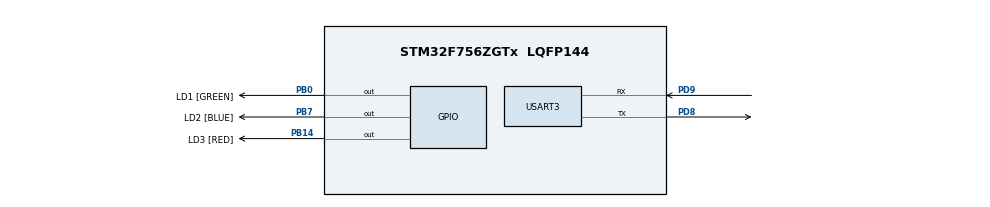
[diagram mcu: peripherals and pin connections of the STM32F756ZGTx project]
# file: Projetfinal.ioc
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CORTEX_M7.default_mode_Activation=1
Mcu.Family=STM32F7
Mcu.Name=STM32F756ZGTx
Mcu.Package=LQFP144
NVIC.PriorityGroup=NVIC_PRIORITYGROUP_4
NVIC.TIM2_IRQn=true\:0\:0\:false\:false\:true\:true\:true\:true
NVIC.TIM3_IRQn=true\:0\:0\:false\:false\:true\:true\:true\:true
NVIC.TIM4_IRQn=true\:0\:0\:false\:false\:true\:true\:true\:true
NVIC.USART3_IRQn=true\:0\:0\:false\:false\:true\:true\:true\:true
PB0.GPIO_Label=LD1 [GREEN]
PB0.Signal=GPIO_Output
PB14.GPIO_Label=LD3 [RED]
PB14.Signal=GPIO_Output
PB7.GPIO_Label=LD2 [BLUE]
PB7.Signal=GPIO_Output
PD8.Mode=Asynchronous
PD8.Signal=USART3_TX
PD9.Mode=Asynchronous
PD9.Signal=USART3_RX
ProjectManager.HeapSize=0x200
ProjectManager.StackSize=0x400
ProjectManager.TargetToolchain=STM32CubeIDE
RCC.HSE_VALUE=25000000
RCC.HSI_VALUE=16000000
RCC.LSE_VALUE=32768
RCC.USBFreq_Value=96000000
RCC.VCOOutputFreq_Value=192000000
TIM2.Period=62499
TIM2.Prescaler=127
TIM3.Period=62499
TIM3.Prescaler=255
TIM4.Period=65216
TIM4.Prescaler=735
USART3.VirtualMode-Asynchronous=VM_ASYNC
VP_TIM2_VS_ClockSourceINT.Mode=Internal
VP_TIM3_VS_ClockSourceINT.Mode=Internal
VP_TIM4_VS_ClockSourceINT.Mode=Internal
board=custom

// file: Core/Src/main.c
/* USER CODE BEGIN Header */
/**
******************************************************************************
* @file           : main.c
* @brief          : Main program body
******************************************************************************
* @attention
*
* Copyright (c) 2025 STMicroelectronics.
* All rights reserved.
*
* This software is licensed under terms that can be found in the LICENSE file
* in the root directory of this software component.
* If no LICENSE file comes with this software, it is provided AS-IS.
*
******************************************************************************
*/
/* USER CODE END Header */
#include "main.h"
#include "tim.h"
#include "usart.h"
#include "gpio.h"

/* USER CODE BEGIN Includes */
#include "string.h"
#include "stdio.h"
/* USER CODE END Includes */

/* USER CODE BEGIN PTD */
#define RX_BUFFER_SIZE 64
/* USER CODE END PTD */

/* USER CODE BEGIN PV */
uint8_t rx_buffer[RX_BUFFER_SIZE];
uint8_t rx_data;
uint8_t rx_index = 0;
uint8_t chenillard_active = 0;
uint8_t etat = 1;
TIM_HandleTypeDef *current_timer = &htim2;
/* USER CODE END PV */

void SystemClock_Config(void);
static void MPU_Config(void);
/* USER CODE BEGIN PFP */
void ProcessCommand(uint8_t *command);
void SendResponse(char *response);
void chenillard1(void);
void change_timer(uint8_t timer);
/* USER CODE END PFP */

/* USER CODE BEGIN 0 */
void chenillard1(void) {
  static uint8_t step = 0;
  // Éteint toutes les LEDs
  HAL_GPIO_WritePin(GPIOB, GPIO_PIN_0 | GPIO_PIN_7 | GPIO_PIN_14, GPIO_PIN_RESET);
  // Allume la LED correspondante
  switch(step) {
      case 0: HAL_GPIO_WritePin(GPIOB, GPIO_PIN_0, GPIO_PIN_SET); break;
      case 1: HAL_GPIO_WritePin(GPIOB, GPIO_PIN_7, GPIO_PIN_SET); break;
      case 2: HAL_GPIO_WritePin(GPIOB, GPIO_PIN_14, GPIO_PIN_SET); break;
      case 3: HAL_GPIO_WritePin(GPIOB, GPIO_PIN_7, GPIO_PIN_SET); break;
  }
  step = (step + 1) % 4;
}
void chenillard2(void) {
  static uint8_t step = 0;
  HAL_GPIO_WritePin(GPIOB, GPIO_PIN_0 | GPIO_PIN_7 | GPIO_PIN_14, GPIO_PIN_RESET);
  if (step == 0) {
      HAL_GPIO_WritePin(GPIOB, GPIO_PIN_0 | GPIO_PIN_14, GPIO_PIN_SET);
  } else {
      HAL_GPIO_WritePin(GPIOB, GPIO_PIN_7, GPIO_PIN_SET);
  }
  step = (step + 1) % 2;
}
void chenillard3(void) {
  static uint8_t step = 0;
  if (step == 0) {
      HAL_GPIO_WritePin(GPIOB, GPIO_PIN_0 | GPIO_PIN_7 | GPIO_PIN_14, GPIO_PIN_SET);
  } else {
      HAL_GPIO_WritePin(GPIOB, GPIO_PIN_0 | GPIO_PIN_7 | GPIO_PIN_14, GPIO_PIN_RESET);
  }
  step = (step + 1) % 2;
}
/* USER CODE END 0 */

int main(void)
{

  /* MPU Configuration--------------------------------------------------------*/
  MPU_Config();

  /* MCU Configuration--------------------------------------------------------*/

  /* Reset of all peripherals, Initializes the Flash interface and the Systick. */
  HAL_Init();

  /* Configure the system clock */
  SystemClock_Config();

  /* Initialize all configured peripherals */
  MX_GPIO_Init();
  MX_USART3_UART_Init();
  MX_TIM2_Init();
  MX_TIM3_Init();
  MX_TIM4_Init();
  /* USER CODE BEGIN 2 */
HAL_UART_Receive_IT(&huart3, &rx_data, 1);
// Démarrer seulement le timer 2 initialement
HAL_TIM_Base_Start_IT(&htim2);
HAL_TIM_Base_Start_IT(&htim3);
HAL_TIM_Base_Start_IT(&htim4);
current_timer = &htim2;
  /* USER CODE END 2 */

  /* Infinite loop */
while (1)
{

}
}

void SystemClock_Config(void)
{
  RCC_OscInitTypeDef RCC_OscInitStruct = {0};
  RCC_ClkInitTypeDef RCC_ClkInitStruct = {0};

  /** Configure the main internal regulator output voltage
  */
  __HAL_RCC_PWR_CLK_ENABLE();
  __HAL_PWR_VOLTAGESCALING_CONFIG(PWR_REGULATOR_VOLTAGE_SCALE3);

  /** Initializes the RCC Oscillators according to the specified parameters
  * in the RCC_OscInitTypeDef structure.
  */
  RCC_OscInitStruct.OscillatorType = RCC_OSCILLATORTYPE_HSI;
  RCC_OscInitStruct.HSIState = RCC_HSI_ON;
  RCC_OscInitStruct.HSICalibrationValue = RCC_HSICALIBRATION_DEFAULT;
  RCC_OscInitStruct.PLL.PLLState = RCC_PLL_NONE;
  if (HAL_RCC_OscConfig(&RCC_OscInitStruct) != HAL_OK)
  {
    Error_Handler();
  }

  /** Initializes the CPU, AHB and APB buses clocks
  */
  RCC_ClkInitStruct.ClockType = RCC_CLOCKTYPE_HCLK|RCC_CLOCKTYPE_SYSCLK
                              |RCC_CLOCKTYPE_PCLK1|RCC_CLOCKTYPE_PCLK2;
  RCC_ClkInitStruct.SYSCLKSource = RCC_SYSCLKSOURCE_HSI;
  RCC_ClkInitStruct.AHBCLKDivider = RCC_SYSCLK_DIV1;
  RCC_ClkInitStruct.APB1CLKDivider = RCC_HCLK_DIV1;
  RCC_ClkInitStruct.APB2CLKDivider = RCC_HCLK_DIV1;

  if (HAL_RCC_ClockConfig(&RCC_ClkInitStruct, FLASH_LATENCY_0) != HAL_OK)
  {
    Error_Handler();
  }
}

/* USER CODE BEGIN 4 */
// Callback de réception UART
void HAL_UART_RxCpltCallback(UART_HandleTypeDef *huart) {
   if (huart->Instance == USART3) {

       if (rx_data == '\0') {
           if (rx_index > 0) {
               if (strcmp((char*)rx_buffer,"LED1 ON") ==0){
            	   if (etat == 1){
            	   HAL_GPIO_WritePin(GPIOB, GPIO_PIN_0, SET);}
               	   }
               else if (strcmp((char*)rx_buffer,"LED1 OFF") ==0){
            	   if (etat == 1){
				   HAL_GPIO_WritePin(GPIOB, GPIO_PIN_0, RESET);}
					   }
               else if (strcmp((char*)rx_buffer,"LED2 ON") ==0){
            	   if (etat == 1){
				   HAL_GPIO_WritePin(GPIOB, GPIO_PIN_7, SET);}
					   }
               else if (strcmp((char*)rx_buffer,"LED2 OFF") ==0){
            	   if (etat == 1){
				   HAL_GPIO_WritePin(GPIOB, GPIO_PIN_7, RESET);}
					   }
               else if (strcmp((char*)rx_buffer,"LED3 ON") ==0){
            	   if (etat == 1){
				   HAL_GPIO_WritePin(GPIOB, GPIO_PIN_14, SET);}
					   }
               else if (strcmp((char*)rx_buffer,"LED3 OFF") ==0){
            	   if (etat == 1){
				   HAL_GPIO_WritePin(GPIOB, GPIO_PIN_14, RESET);}
					   }
               else if (strcmp((char*)rx_buffer,"LED3 OFF") ==0){
            	   if (etat == 1){
               	   HAL_GPIO_WritePin(GPIOB, GPIO_PIN_14, RESET);}
               					   }
               else if (strcmp((char*)rx_buffer,"CHENILLARD1 ON") ==0){
							   HAL_TIM_Base_Start_IT(current_timer);
							   chenillard_active = 1;
							   etat = 0;
								   }
               else if (strcmp((char*)rx_buffer,"CHENILLARD1 OFF") ==0){
            	   	if (chenillard_active ==1){
							   HAL_TIM_Base_Stop(current_timer);
							   etat = 1;
							   TurnOffAllLEDs();}
								   }
               else if (strcmp((char*)rx_buffer,"CHENILLARD2 ON") ==0){
							   HAL_TIM_Base_Start_IT(current_timer);
							   chenillard_active = 2;
							   etat = 0;
								   }
			   else if (strcmp((char*)rx_buffer,"CHENILLARD2 OFF") ==0){
				   if (chenillard_active == 2){
							   HAL_TIM_Base_Stop(current_timer);
							   etat = 1;
							   TurnOffAllLEDs();}
								   }
			   else if (strcmp((char*)rx_buffer,"CHENILLARD3 ON") ==0){
							   HAL_TIM_Base_Start_IT(current_timer);
							   chenillard_active = 3;
							   etat = 0;
								   }
			   else if (strcmp((char*)rx_buffer,"CHENILLARD3 OFF") ==0){
				   if (chenillard_active == 3){
							   HAL_TIM_Base_Stop(current_timer);
							   etat = 1;
							   TurnOffAllLEDs();}
								   }
			   else if (strcmp((char*)rx_buffer,"FREQUENCE1") ==0){
			                   current_timer = &htim2;
			                  		    }
			   else if (strcmp((char*)rx_buffer,"FREQUENCE2") ==0){
							   current_timer = &htim3;
									    }
			   else if (strcmp((char*)rx_buffer,"FREQUENCE3") ==0){
							   current_timer = &htim4;
									    }
               memset(rx_buffer,0,sizeof(rx_buffer));
               rx_index = 0;
           }
       }
       else if (rx_index < RX_BUFFER_SIZE - 1) {
           rx_buffer[rx_index] = rx_data;
           rx_index++;
       }
       HAL_UART_Receive_IT(&huart3, &rx_data, 1);
   }
}
// Éteint toutes les LEDs
void TurnOffAllLEDs(void) {
   HAL_GPIO_WritePin(GPIOB, GPIO_PIN_0 | GPIO_PIN_7 | GPIO_PIN_14, GPIO_PIN_RESET);
}
// Callback d'interruption Timer
void HAL_TIM_PeriodElapsedCallback(TIM_HandleTypeDef *htim) {
   if (chenillard_active == 0) return;
   if (htim == current_timer) {
       switch(chenillard_active) {
           case 1: chenillard1(); break;
           case 2: chenillard2(); break;
           case 3: chenillard3(); break;
       }
   }
}

/* USER CODE END 4 */

 /* MPU Configuration */

void MPU_Config(void)
{
  MPU_Region_InitTypeDef MPU_InitStruct = {0};

  /* Disables the MPU */
  HAL_MPU_Disable();

  /** Initializes and configures the Region and the memory to be protected
  */
  MPU_InitStruct.Enable = MPU_REGION_ENABLE;
  MPU_InitStruct.Number = MPU_REGION_NUMBER0;
  MPU_InitStruct.BaseAddress = 0x0;
  MPU_InitStruct.Size = MPU_REGION_SIZE_4GB;
  MPU_InitStruct.SubRegionDisable = 0x87;
  MPU_InitStruct.TypeExtField = MPU_TEX_LEVEL0;
  MPU_InitStruct.AccessPermission = MPU_REGION_NO_ACCESS;
  MPU_InitStruct.DisableExec = MPU_INSTRUCTION_ACCESS_DISABLE;
  MPU_InitStruct.IsShareable = MPU_ACCESS_SHAREABLE;
  MPU_InitStruct.IsCacheable = MPU_ACCESS_NOT_CACHEABLE;
  MPU_InitStruct.IsBufferable = MPU_ACCESS_NOT_BUFFERABLE;

  HAL_MPU_ConfigRegion(&MPU_InitStruct);
  /* Enables the MPU */
  HAL_MPU_Enable(MPU_PRIVILEGED_DEFAULT);

}

void Error_Handler(void)
{
__disable_irq();
while (1)
{
}
}
